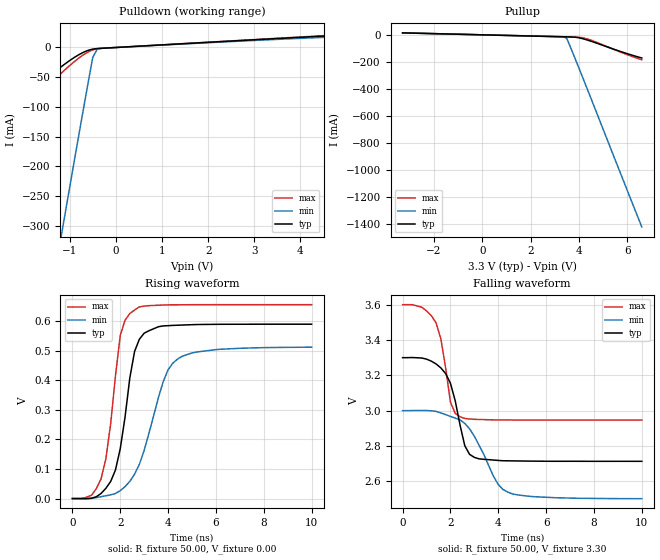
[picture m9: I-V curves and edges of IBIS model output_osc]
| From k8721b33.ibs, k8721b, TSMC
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|   Model output_osc
[Model]   output_osc
Model_type   Output
Polarity   Non-Inverting
Vmeas =  1.50V
C_comp   1.96e-12F   2.11e-12F   1.75e-12F
[Temperature Range]   25   125   0
[Voltage Range]   3.30V   3.00V   3.60V
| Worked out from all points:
|   slope of the pulldown table from 0 to 0.495 V, typ, clamps not added: 228 ohm
|   slope of the pullup table from 0 to 0.495 V, typ, clamps not added: 228 ohm
|   rising waveform, R_fixture 50.00, V_fixture 0.00: 20-80 % time 682ps typ, 1.15ns min, 573ps max; typ from 0 V to 0.59 V
|   falling waveform, R_fixture 50.00, V_fixture 3.30: 20-80 % time 651ps typ, 1.14ns min, 510ps max; typ from 3.3 V to 2.71 V
[Pullup]
| voltage   I(typ)   I(min)   I(max)
-3.3V     14.53mA    14.12mA    14.81mA
3.3V      -14.33mA   -13.55mA   -14.69mA
3.4V      -14.76mA   -14.73mA   -15.13mA
3.5V      -15.19mA   -28.5mA    -15.58mA
3.9V      -18.95mA   -202.4mA   -17.35mA
4.3V      -36.12mA   -381.7mA   -28.05mA
6.6V      -171.5mA   -1.422A    -184.5mA
[Pulldown]
| voltage   I(typ)   I(min)   I(max)
-3.3V     -157.8mA   -1.278A    -185.5mA
-2.8V     -131.5mA   -1.052A    -156.9mA
-2.4V     -108.5mA   -870mA     -131.4mA
-1.9V     -77.47mA   -642.4mA   -96.39mA
-1.2V     -33.36mA   -324.8mA   -44.48mA
-1.1V     -27.51mA   -279.8mA   -37.31mA
-800mV    -12.04mA   -146.3mA   -17.62mA
-600mV    -4.706mA   -59.08mA   -7.424mA
-500mV    -2.671mA   -16.52mA   -3.91mA
-400mV    -1.804mA   -2.501mA   -2.047mA
4.2V      17.96mA    16.06mA    18.53mA
6.6V      27.4mA     20.49mA    28.74mA
[Ramp]
| variable   typ   min   max
dV/dt_r   0.35/6.50e-10   0.31/1.12e-09   0.39/5.54e-10
dV/dt_f   0.35/6.16e-10   0.30/1.13e-09   0.39/4.75e-10
R_load = 50.00
[Rising Waveform]
R_fixture = 50.00
V_fixture = 0.00
V_fixture_min = 0.00
V_fixture_max = 0.00
| time   V(typ)   V(min)   V(max)
0s        0V         0V         0V
1.2ns     17.25mV    6.323mV    67.07mV
1.4ns     34.72mV    9.415mV    135.3mV
1.8ns     96.59mV    17.18mV    415.2mV
2ns       168.6mV    26.59mV    551.6mV
2.4ns     408.2mV    58.05mV    626mV
3ns       559.4mV    163.4mV    651.1mV
3.8ns     584.1mV    396.4mV    654.8mV
4.4ns     586.4mV    472.2mV    655.5mV
10ns      589.9mV    512.1mV    656mV
[Falling Waveform]
R_fixture = 50.00
V_fixture = 3.30
V_fixture_min = 3.00
V_fixture_max = 3.60
| time   V(typ)   V(min)   V(max)
0s        3.3V       3V         3.6V
800ps     3.298V     3.001V     3.586V
1.4ns     3.264V     2.996V     3.497V
1.6ns     3.242V     2.987V     3.406V
2ns       3.155V     2.968V     3.049V
2.4ns     2.919V     2.948V     2.965V
2.8ns     2.753V     2.897V     2.953V
4ns       2.718V     2.582V     2.947V
4.4ns     2.716V     2.538V     2.947V
10ns      2.713V     2.502V     2.947V
